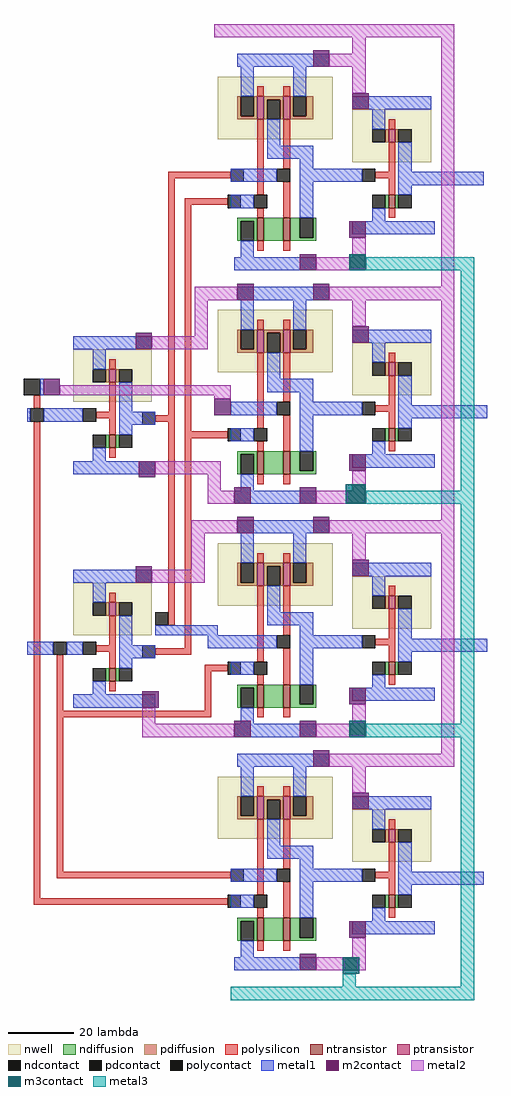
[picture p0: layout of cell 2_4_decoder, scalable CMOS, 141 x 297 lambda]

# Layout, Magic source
magic
tech scmos
<< polysilicon >>
rect -15 250 4 252
rect -56 180 -54 184
rect -56 31 -54 176
rect -15 178 -13 250
rect -19 176 -13 178
rect -15 114 -13 176
rect -10 242 3 244
rect -10 173 -8 242
rect -10 171 3 173
rect -49 88 -47 105
rect -10 107 -8 171
rect -19 105 -8 107
rect -4 100 3 102
rect -4 88 -2 100
rect -49 86 -2 88
rect -49 39 -47 86
rect -49 37 4 39
rect -56 29 3 31
<< polycontact >>
rect -59 184 -54 189
rect -57 176 -53 180
rect -23 175 -19 179
rect 4 249 8 253
rect -19 114 -15 118
rect 3 241 7 245
rect -50 105 -46 109
rect -23 104 -19 108
rect 3 170 7 174
rect 3 99 7 103
rect 4 36 8 40
rect 3 28 7 32
<< metal1 >>
rect 80 248 81 252
rect -54 184 -53 189
rect -58 176 -57 180
rect -53 176 -44 180
rect 81 177 82 181
rect -19 111 0 114
rect -58 105 -50 109
rect -46 105 -44 109
rect -3 107 4 111
rect 81 106 82 110
rect 80 35 81 39
<< m2contact >>
rect 6 213 11 218
rect -25 198 -20 203
rect -53 184 -48 189
rect -1 178 4 183
rect -24 159 -19 164
rect 5 151 10 156
rect 6 142 11 147
rect -25 127 -20 132
rect -23 89 -18 94
rect 5 80 10 85
<< metal2 >>
rect -1 293 0 297
rect -7 213 6 217
rect -7 202 -3 213
rect -20 198 -3 202
rect -48 184 4 187
rect -1 183 4 184
rect -19 160 1 164
rect -3 155 1 160
rect -3 151 5 155
rect -8 142 6 146
rect -8 131 -4 142
rect -20 127 -4 131
rect -23 84 -19 89
rect -23 80 5 84
<< metal3 >>
rect 4 0 5 4
use and_block  and_block_0
transform 1 0 18 0 1 210
box -18 -210 63 87
use inverter  inverter_0
transform 1 0 -12 0 1 123
box -32 -34 -7 8
use inverter  inverter_1
transform 1 0 -12 0 1 194
box -32 -34 -7 8
<< end >>

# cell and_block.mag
magic
tech scmos
<< metal1 >>
rect -14 39 -13 43
rect 49 38 62 42
rect -14 31 -13 35
rect -14 -32 -13 -28
rect 49 -33 63 -29
rect -14 -40 -13 -36
rect -14 -103 -13 -99
rect 49 -104 63 -100
rect -14 -111 -13 -107
rect -14 -174 -13 -170
rect 49 -175 62 -171
rect -14 -182 -13 -178
<< metal2 >>
rect -18 83 54 87
rect 23 75 27 83
rect 50 7 54 83
rect 23 3 54 7
rect 50 -64 54 3
rect 23 -68 54 -64
rect 50 -135 54 -68
rect 23 -139 54 -135
<< m3contact >>
rect 22 12 27 17
rect 21 -59 27 -53
rect 22 -130 27 -125
rect 20 -202 25 -197
<< metal3 >>
rect 27 12 60 16
rect 56 -55 60 12
rect 27 -59 60 -55
rect 56 -126 60 -59
rect 27 -130 60 -126
rect 20 -206 24 -202
rect 56 -206 60 -130
rect -13 -210 60 -206
use and  and_0
transform 1 0 -18 0 1 12
box 0 0 67 67
use and  and_1
transform 1 0 -18 0 1 -59
box 0 0 67 67
use and  and_2
transform 1 0 -18 0 1 -130
box 0 0 67 67
use and  and_3
transform 1 0 -18 0 1 -201
box 0 0 67 67
<< end >>

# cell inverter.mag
magic
tech scmos
<< nwell >>
rect -32 -12 -8 4
<< ntransistor >>
rect -21 -26 -19 -22
<< ptransistor >>
rect -21 -6 -19 -2
<< ndiffusion >>
rect -22 -26 -21 -22
rect -19 -26 -18 -22
<< pdiffusion >>
rect -22 -6 -21 -2
rect -19 -6 -18 -2
<< ndcontact >>
rect -26 -26 -22 -22
rect -18 -26 -14 -22
<< pdcontact >>
rect -26 -6 -22 -2
rect -18 -6 -14 -2
<< polysilicon >>
rect -21 -2 -19 1
rect -21 -15 -19 -6
rect -25 -17 -19 -15
rect -21 -22 -19 -17
rect -21 -29 -19 -26
<< polycontact >>
rect -29 -18 -25 -14
<< metal1 >>
rect -32 4 -8 8
rect -26 -2 -22 4
rect -32 -18 -29 -14
rect -18 -15 -14 -6
rect -18 -19 -7 -15
rect -18 -22 -14 -19
rect -26 -30 -22 -26
rect -32 -34 -7 -30
<< end >>

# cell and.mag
magic
tech scmos
<< metal1 >>
rect 6 62 7 66
rect 5 27 6 31
rect 28 27 41 31
rect 66 26 67 30
rect 5 19 6 23
rect 5 0 6 4
<< m2contact >>
rect 29 62 34 67
rect 41 49 46 54
rect 40 10 45 15
rect 25 0 30 5
<< metal2 >>
rect 34 62 45 66
rect 41 54 45 62
rect 41 4 45 10
rect 30 0 45 4
use nand  nand_0
transform 1 0 18 0 1 40
box -18 -40 17 26
use inverter  inverter_0
transform 1 0 73 0 1 45
box -32 -34 -7 8
<< end >>

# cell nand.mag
magic
tech scmos
<< nwell >>
rect -18 0 17 19
<< ntransistor >>
rect -6 -31 -4 -24
rect 2 -31 4 -24
<< ptransistor >>
rect -6 6 -4 13
rect 2 6 4 13
<< ndiffusion >>
rect -12 -25 -6 -24
rect -12 -31 -11 -25
rect -7 -31 -6 -25
rect -4 -31 2 -24
rect 4 -30 7 -24
rect 11 -30 12 -24
rect 4 -31 12 -30
<< pdiffusion >>
rect -12 7 -11 13
rect -7 7 -6 13
rect -12 6 -6 7
rect -4 12 2 13
rect -4 6 -3 12
rect 1 6 2 12
rect 4 7 5 13
rect 9 7 11 13
rect 4 6 11 7
<< ndcontact >>
rect -11 -31 -7 -25
rect 7 -30 11 -24
<< pdcontact >>
rect -11 7 -7 13
rect -3 6 1 12
rect 5 7 9 13
<< polysilicon >>
rect -6 13 -4 16
rect 2 13 4 16
rect -6 -17 -4 6
rect 2 -9 4 6
rect -6 -24 -4 -21
rect 2 -24 4 -13
rect -6 -34 -4 -31
rect 2 -34 4 -31
<< polycontact >>
rect 0 -13 4 -9
rect -7 -21 -3 -17
<< metal1 >>
rect -11 22 16 26
rect -11 13 -7 22
rect 5 13 9 22
rect -3 -2 1 6
rect -3 -6 11 -2
rect 7 -9 11 -6
rect -12 -13 0 -9
rect 7 -13 14 -9
rect -12 -21 -7 -17
rect 7 -24 11 -13
rect -11 -36 -7 -31
rect -12 -40 12 -36
<< end >>
